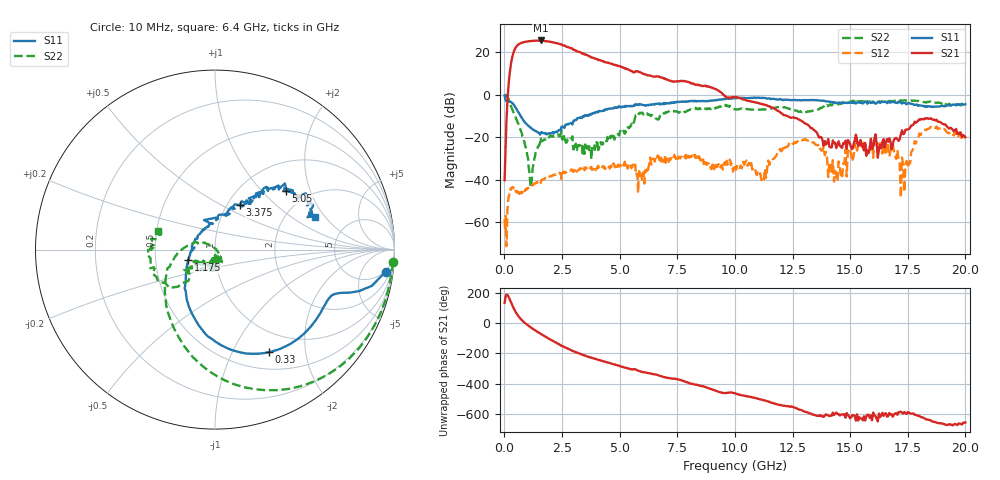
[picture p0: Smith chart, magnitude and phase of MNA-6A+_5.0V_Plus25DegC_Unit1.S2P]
!Mini-Circuits Laboratory
!S-Parameters
!Model: MNA-6A+
!Run / Lot / Date Code: NA / CP041-001-02-52EV / 1501
!Fixture: NA; TB-186+
!!AUTO PORT EXTENSION DONE: PORT<1>=124.27ps; PORT<2>=123.48ps
!Network Analyzer: PNA-X N5242A - 423 4 ports;  Serial number: 71256
!Date: 4/21/2015
!S/N: Unit# 1
# Hz  S  dB  R  50
!Frequency  S11 dB  S11 Deg  S21 dB  S21 Deg  S12 dB  S12 Deg  S22 dB  S22 Deg
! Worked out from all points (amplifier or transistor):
!   660 points, 10 MHz to 20 GHz, reference 50 ohm
!   highest |S21| = 25.5 dB at 1.575 GHz (marker M1)
!   |S21| within 3 dB of that: 509.6 MHz to 2.709 GHz (2.199 GHz wide, 137 % of centre)
!   unconditionally stable (mu >= 1): start of sweep to end of sweep
!   at 1.275 GHz: K = 3.49, MAG = 25.5 dB, |S12| = -42.2 dB
!   at 6.775 GHz: K = 4.36, MAG = 10.5 dB, |S12| = -31.5 dB
!   at 20 GHz: K = 23.46, MAG = -16.5 dB, |S12| = -20.4 dB
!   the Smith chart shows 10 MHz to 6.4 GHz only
!   S11 on the Smith chart (normalised r, x): 10 MHz: 5, -14; 330 MHz: 0.71, -1.40; 1.175 GHz: 0.74, -0.09; 3.375 GHz: 1.15, +0.62; 5.05 GHz: 1.56, +1.37; 6.4 GHz: 2.87, +1.56
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1.00001e7  -0.37 -7.5  -40.27 134.6  -58.65 109.3  -0.05 -4.1
2.000001e8  -3.29 -36.6  6.80 168.7  -47.63 99.1  -2.72 -85.6
3.300001e8  -3.80 -62.3  17.10 123.2  -43.66 54.5  -6.63 -121.9
4.500001e8  -5.44 -86.2  21.36 84.7  -44.26 36.9  -9.67 -147.4
5.700001e8  -7.70 -104.7  23.26 54.4  -45.98 36.4  -12.86 -169.1
7.000001e8  -10.03 -120.1  24.23 29.2  -45.95 39.7  -16.60 171.3
8.300001e8  -12.24 -132.2  24.69 9.1  -45.45 50.3  -20.73 154.2
1.175e9  -15.92 -158.2  25.29 -31.7  -42.90 57.4  -41.59 -13.4
1.575e9  -17.99 -177.9  25.53 -70.1  -41.57 65.6  -20.14 -71.7
1.925e9  -18.23 138.5  25.01 -102.7  -38.73 58.1  -20.16 -82.6
2.4e9  -16.58 97.4  23.82 -142.3  -36.78 52.0  -19.40 -92.1
2.9e9  -13.43 69.7  21.86 -179.6  -35.49 44.0  -20.77 -95.5
3.35e9  -10.66 57.0  19.68 153.1  -34.79 39.7  -23.36 -78.7
3.375e9  -10.87 60.6  19.47 150.5  -34.89 33.1  -24.73 -101.7
3.975e9  -8.23 51.8  16.88 122.0  -35.27 30.1  -22.66 -75.0
5.05e9  -5.84 39.6  13.24 73.0  -33.47 6.9  -17.10 -145.0
6.4e9  -4.67 17.9  8.69 24.2  -31.70 15.7  -9.55 161.4
6.675e9  -4.26 12.5  8.51 14.7  -29.10 -12.6  -11.56 166.3
1.005e10  -1.67 -87.1  -1.09 -108.2  -35.30 -38.8  -7.06 126.1
1.335e10  -2.54 176.8  -15.78 115.6  -22.32 -38.4  -7.61 53.8
1.67e10  -3.49 90.2  -20.50 125.2  -29.15 54.0  -2.90 51.1
2e10  -4.50 -27.6  -20.00 62.5  -20.35 85.6  -5.23 -102.9
